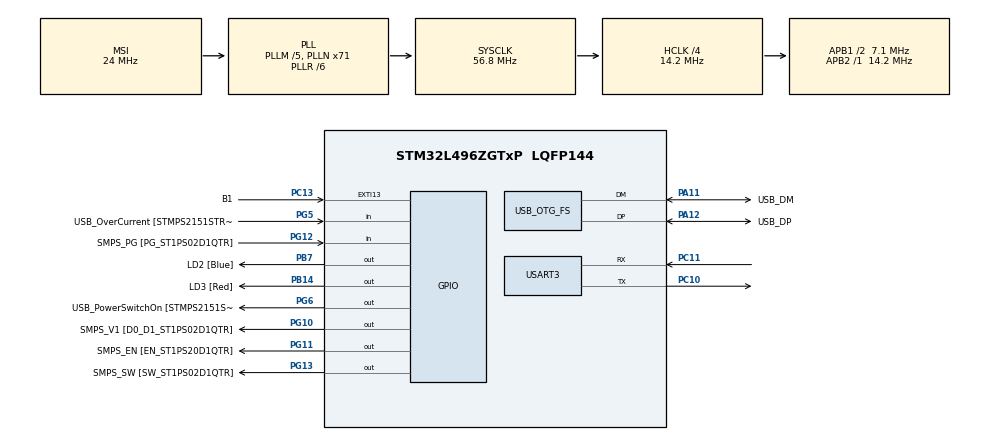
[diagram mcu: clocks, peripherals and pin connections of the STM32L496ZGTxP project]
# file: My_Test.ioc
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Mcu.Family=STM32L4
Mcu.Name=STM32L496ZGTxP
Mcu.Package=LQFP144
NVIC.EXTI15_10_IRQn=true\:0\:0\:false\:false\:true\:true\:true\:true
NVIC.OTG_FS_IRQn=true\:0\:0\:false\:false\:true\:true\:true\:true
NVIC.PriorityGroup=NVIC_PRIORITYGROUP_4
NVIC.TIM6_DAC_IRQn=true\:0\:0\:false\:false\:true\:true\:true\:true
NVIC.USART3_IRQn=true\:0\:0\:false\:false\:true\:true\:true\:true
PA10.GPIO_Label=USB_ID
PA10.Signal=USB_OTG_FS_ID
PA11.GPIO_Label=USB_DM
PA11.Mode=Host_Only
PA11.Signal=USB_OTG_FS_DM
PA12.GPIO_Label=USB_DP
PA12.Mode=Host_Only
PA12.Signal=USB_OTG_FS_DP
PA13\ (JTMS/SWDIO).GPIO_Label=TMS
PA13\ (JTMS/SWDIO).Mode=Trace_Asynchronous_SW
PA13\ (JTMS/SWDIO).Signal=SYS_JTMS-SWDIO
PA14\ (JTCK/SWCLK).GPIO_Label=TCK
PA14\ (JTCK/SWCLK).Mode=Trace_Asynchronous_SW
PA14\ (JTCK/SWCLK).Signal=SYS_JTCK-SWCLK
PA8.GPIO_Label=USB_SOF [TP1]
PA8.Signal=USB_OTG_FS_SOF
PA9.GPIO_Label=USB_VBUS
PA9.Signal=USB_OTG_FS_VBUS
PB14.GPIO_Label=LD3 [Red]
PB14.Signal=GPIO_Output
PB3\ (JTDO/TRACESWO).GPIO_Label=SWO
PB3\ (JTDO/TRACESWO).Mode=Trace_Asynchronous_SW
PB3\ (JTDO/TRACESWO).Signal=SYS_JTDO-SWO
PB7.GPIO_Label=LD2 [Blue]
PB7.Signal=GPIO_Output
PC10.Mode=Asynchronous
PC10.Signal=USART3_TX
PC11.Mode=Asynchronous
PC11.Signal=USART3_RX
PC13.GPIO_Label=B1
PC13.Signal=GPXTI13
PC14-OSC32_IN\ (PC14).Mode=LSE-External-Oscillator
PC14-OSC32_IN\ (PC14).Signal=RCC_OSC32_IN
PC15-OSC32_OUT\ (PC15).Mode=LSE-External-Oscillator
PC15-OSC32_OUT\ (PC15).Signal=RCC_OSC32_OUT
PG10.GPIO_Label=SMPS_V1 [D0_D1_ST1PS02D1QTR]
PG10.Signal=GPIO_Output
PG11.GPIO_Label=SMPS_EN [EN_ST1PS20D1QTR]
PG11.Signal=GPIO_Output
PG12.GPIO_Label=SMPS_PG [PG_ST1PS02D1QTR]
PG12.Signal=GPIO_Input
PG13.GPIO_Label=SMPS_SW [SW_ST1PS02D1QTR]
PG13.Signal=GPIO_Output
PG5.GPIO_Label=USB_OverCurrent [STMPS2151STR_FAULT]
PG5.Signal=GPIO_Input
PG6.GPIO_Label=USB_PowerSwitchOn [STMPS2151STR_EN]
PG6.Signal=GPIO_Output
PH0-OSC_IN\ (PH0).GPIO_Label=MCO
PH0-OSC_IN\ (PH0).Signal=RCC_OSC_IN
PH1-OSC_OUT\ (PH1).Signal=RCC_OSC_OUT
ProjectManager.HeapSize=0x200
ProjectManager.StackSize=0x400
ProjectManager.TargetToolchain=STM32CubeIDE
RCC.48MHZClocksFreq_Value=24000000
RCC.ADCFreq_Value=48000000
RCC.AHBCLKDivider=RCC_SYSCLK_DIV4
RCC.AHBFreq_Value=14200000
RCC.APB1CLKDivider=RCC_HCLK_DIV2
RCC.APB1Freq_Value=7100000
RCC.APB1TimFreq_Value=14200000
RCC.APB2Freq_Value=14200000
RCC.APB2TimFreq_Value=14200000
RCC.CortexFreq_Value=14200000
RCC.HCLKFreq_Value=14200000
RCC.HSE_VALUE=8000000
RCC.HSI48_VALUE=48000000
RCC.HSI_VALUE=16000000
RCC.MSIClockRange=RCC_MSIRANGE_9
RCC.MSI_VALUE=24000000
RCC.PLLM=5
RCC.PLLMUL=RCC_PLL_MUL9
RCC.PLLN=71
RCC.PLLR=RCC_PLLR_DIV6
RCC.PLLSAI1N=20
RCC.PRESCALERUSB=RCC_USBCLKSOURCE_PLL_DIV1_5
RCC.SYSCLKFreq_VALUE=56800000
RCC.SYSCLKSource=RCC_SYSCLKSOURCE_PLLCLK
RCC.SYSCLKSourceVirtual=RCC_SYSCLKSOURCE_PLLCLK
RCC.USBFreq_Value=48000000
RCC.VCOOutputFreq_Value=340800000
RTC.Date=18
RTC.Month=RTC_MONTH_AUGUST
RTC.WeekDay=RTC_WEEKDAY_FRIDAY
RTC.Year=23
USART3.VirtualMode-Asynchronous=VM_ASYNC
USB_HOST.BSP.number=1
USB_HOST.USBH_HandleTypeDef=hUsbHostFS
USB_HOST.VirtualModeFS=Audio
USB_HOST0.BSP.STBoard=false
USB_HOST0.BSP.api=UnknownBspDriver
USB_HOST0.BSP.instance=PG6
USB_HOST0.BSP.ip=GPIO
USB_HOST0.BSP.mode=Output
USB_HOST0.BSP.name=Drive_VBUS_FS
USB_HOST0.BSP.solution=PG6
USB_OTG_FS.VirtualMode=Host_Only
USB_OTG_FS.phy_itface=HCD_PHY_EMBEDDED
VP_RTC_VS_RTC_Activate.Mode=RTC_Enabled
VP_RTC_VS_RTC_Calendar.Mode=RTC_Calendar
VP_TIM6_VS_ClockSourceINT.Mode=Enable_Timer
VP_USB_HOST_VS_USB_HOST_AUDIO_FS.Mode=AUDIO_FS
board=NUCLEO-L496ZG-P

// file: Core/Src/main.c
/* USER CODE BEGIN Header */
/**
  ******************************************************************************
  * @file           : main.c
  * @brief          : Main program body
  ******************************************************************************
  * @attention
  *
  * Copyright (c) 2023 STMicroelectronics.
  * All rights reserved.
  *
  * This software is licensed under terms that can be found in the LICENSE file
  * in the root directory of this software component.
  * If no LICENSE file comes with this software, it is provided AS-IS.
  *
  ******************************************************************************
  */
/* USER CODE END Header */
#include "main.h"
#include "usb_host.h"

/* USER CODE BEGIN Includes */
#include<string.h>
#include<stdio.h>
#include "console.h"
/* USER CODE END Includes */

RTC_HandleTypeDef hrtc;

TIM_HandleTypeDef htim6;

UART_HandleTypeDef huart3;

/* USER CODE BEGIN PV */

uint8_t rx_index=0;;
uint8_t rx_data[6];
uint8_t rx_buffer[100];
uint8_t transfer_cplt;
char tx_data[200]="Application is Running\r\n";
char cmd[10];
char arg1[10];
char arg2[10];
/* USER CODE END PV */

void SystemClock_Config(void);
static void MX_GPIO_Init(void);
static void MX_RTC_Init(void);
static void MX_TIM6_Init(void);
static void MX_USART3_UART_Init(void);
void MX_USB_HOST_Process(void);

/* USER CODE BEGIN PFP */
void process_data(char *);
void Display(void);

/* USER CODE END PFP */

int main(void)
{
  /* USER CODE BEGIN 1 */
//char *tx_data = "Application is Running\r\n";

  /* USER CODE END 1 */

  /* MCU Configuration--------------------------------------------------------*/

  /* Reset of all peripherals, Initializes the Flash interface and the Systick. */
  HAL_Init();

  /* Configure the system clock */
  SystemClock_Config();

  /* Initialize all configured peripherals */
  MX_GPIO_Init();
  MX_USB_HOST_Init();
  MX_RTC_Init();
  MX_TIM6_Init();
  MX_USART3_UART_Init();
  /* USER CODE BEGIN 2 */
  HAL_UART_Transmit(&huart3, (uint8_t*)tx_data, strlen(tx_data), HAL_MAX_DELAY);
  print("Testing....\r\n");

  while(! HAL_GPIO_ReadPin(GPIOC, GPIO_PIN_13));
  HAL_Delay(200);
  strcpy(tx_data,"In Loop\n\rType your Msg: ");
  HAL_UART_Transmit(&huart3, (uint8_t*)tx_data, strlen(tx_data), HAL_MAX_DELAY);
  /* USER CODE END 2 */

  /* Infinite loop */
  while (1)
  {
    MX_USB_HOST_Process();

    /* USER CODE BEGIN 3 */

    HAL_UART_Receive_IT(&huart3, rx_data, 1);

  }
  /* USER CODE END 3 */
}

void SystemClock_Config(void)
{
  RCC_OscInitTypeDef RCC_OscInitStruct = {0};
  RCC_ClkInitTypeDef RCC_ClkInitStruct = {0};

  /** Configure the main internal regulator output voltage
  */
  if (HAL_PWREx_ControlVoltageScaling(PWR_REGULATOR_VOLTAGE_SCALE1) != HAL_OK)
  {
    Error_Handler();
  }

  /** Configure LSE Drive Capability
  */
  HAL_PWR_EnableBkUpAccess();
  __HAL_RCC_LSEDRIVE_CONFIG(RCC_LSEDRIVE_LOW);

  /** Initializes the RCC Oscillators according to the specified parameters
  * in the RCC_OscInitTypeDef structure.
  */
  RCC_OscInitStruct.OscillatorType = RCC_OSCILLATORTYPE_LSI|RCC_OSCILLATORTYPE_LSE
                              |RCC_OSCILLATORTYPE_MSI;
  RCC_OscInitStruct.LSEState = RCC_LSE_ON;
  RCC_OscInitStruct.LSIState = RCC_LSI_ON;
  RCC_OscInitStruct.MSIState = RCC_MSI_ON;
  RCC_OscInitStruct.MSICalibrationValue = 0;
  RCC_OscInitStruct.MSIClockRange = RCC_MSIRANGE_9;
  RCC_OscInitStruct.PLL.PLLState = RCC_PLL_ON;
  RCC_OscInitStruct.PLL.PLLSource = RCC_PLLSOURCE_MSI;
  RCC_OscInitStruct.PLL.PLLM = 5;
  RCC_OscInitStruct.PLL.PLLN = 71;
  RCC_OscInitStruct.PLL.PLLP = RCC_PLLP_DIV2;
  RCC_OscInitStruct.PLL.PLLQ = RCC_PLLQ_DIV2;
  RCC_OscInitStruct.PLL.PLLR = RCC_PLLR_DIV6;
  if (HAL_RCC_OscConfig(&RCC_OscInitStruct) != HAL_OK)
  {
    Error_Handler();
  }

  /** Initializes the CPU, AHB and APB buses clocks
  */
  RCC_ClkInitStruct.ClockType = RCC_CLOCKTYPE_HCLK|RCC_CLOCKTYPE_SYSCLK
                              |RCC_CLOCKTYPE_PCLK1|RCC_CLOCKTYPE_PCLK2;
  RCC_ClkInitStruct.SYSCLKSource = RCC_SYSCLKSOURCE_PLLCLK;
  RCC_ClkInitStruct.AHBCLKDivider = RCC_SYSCLK_DIV4;
  RCC_ClkInitStruct.APB1CLKDivider = RCC_HCLK_DIV2;
  RCC_ClkInitStruct.APB2CLKDivider = RCC_HCLK_DIV1;

  if (HAL_RCC_ClockConfig(&RCC_ClkInitStruct, FLASH_LATENCY_0) != HAL_OK)
  {
    Error_Handler();
  }

  /** Enable MSI Auto calibration
  */
  HAL_RCCEx_EnableMSIPLLMode();
}

static void MX_RTC_Init(void)
{

  RTC_TimeTypeDef sTime = {0};
  RTC_DateTypeDef sDate = {0};

  /** Initialize RTC Only
  */
  hrtc.Instance = RTC;
  hrtc.Init.HourFormat = RTC_HOURFORMAT_24;
  hrtc.Init.AsynchPrediv = 127;
  hrtc.Init.SynchPrediv = 255;
  hrtc.Init.OutPut = RTC_OUTPUT_DISABLE;
  hrtc.Init.OutPutRemap = RTC_OUTPUT_REMAP_NONE;
  hrtc.Init.OutPutPolarity = RTC_OUTPUT_POLARITY_HIGH;
  hrtc.Init.OutPutType = RTC_OUTPUT_TYPE_OPENDRAIN;
  if (HAL_RTC_Init(&hrtc) != HAL_OK)
  {
    Error_Handler();
  }

  /** Initialize RTC and set the Time and Date
  */
  sTime.Hours = 0x0;
  sTime.Minutes = 0x0;
  sTime.Seconds = 0x0;
  sTime.DayLightSaving = RTC_DAYLIGHTSAVING_NONE;
  sTime.StoreOperation = RTC_STOREOPERATION_RESET;
  if (HAL_RTC_SetTime(&hrtc, &sTime, RTC_FORMAT_BCD) != HAL_OK)
  {
    Error_Handler();
  }
  sDate.WeekDay = RTC_WEEKDAY_FRIDAY;
  sDate.Month = RTC_MONTH_AUGUST;
  sDate.Date = 0x18;
  sDate.Year = 0x23;

  if (HAL_RTC_SetDate(&hrtc, &sDate, RTC_FORMAT_BCD) != HAL_OK)
  {
    Error_Handler();
  }

}

static void MX_TIM6_Init(void)
{

  TIM_MasterConfigTypeDef sMasterConfig = {0};

  htim6.Instance = TIM6;
  htim6.Init.Prescaler = 0;
  htim6.Init.CounterMode = TIM_COUNTERMODE_UP;
  htim6.Init.Period = 65535;
  htim6.Init.AutoReloadPreload = TIM_AUTORELOAD_PRELOAD_DISABLE;
  if (HAL_TIM_Base_Init(&htim6) != HAL_OK)
  {
    Error_Handler();
  }
  sMasterConfig.MasterOutputTrigger = TIM_TRGO_RESET;
  sMasterConfig.MasterSlaveMode = TIM_MASTERSLAVEMODE_DISABLE;
  if (HAL_TIMEx_MasterConfigSynchronization(&htim6, &sMasterConfig) != HAL_OK)
  {
    Error_Handler();
  }

}

static void MX_USART3_UART_Init(void)
{

  huart3.Instance = USART3;
  huart3.Init.BaudRate = 115200;
  huart3.Init.WordLength = UART_WORDLENGTH_8B;
  huart3.Init.StopBits = UART_STOPBITS_1;
  huart3.Init.Parity = UART_PARITY_NONE;
  huart3.Init.Mode = UART_MODE_TX_RX;
  huart3.Init.HwFlowCtl = UART_HWCONTROL_NONE;
  huart3.Init.OverSampling = UART_OVERSAMPLING_16;
  huart3.Init.OneBitSampling = UART_ONE_BIT_SAMPLE_DISABLE;
  huart3.AdvancedInit.AdvFeatureInit = UART_ADVFEATURE_NO_INIT;
  if (HAL_UART_Init(&huart3) != HAL_OK)
  {
    Error_Handler();
  }

}

static void MX_GPIO_Init(void)
{
  GPIO_InitTypeDef GPIO_InitStruct = {0};

  /* GPIO Ports Clock Enable */
  __HAL_RCC_GPIOC_CLK_ENABLE();
  __HAL_RCC_GPIOH_CLK_ENABLE();
  __HAL_RCC_GPIOB_CLK_ENABLE();
  __HAL_RCC_GPIOG_CLK_ENABLE();
  HAL_PWREx_EnableVddIO2();
  __HAL_RCC_GPIOA_CLK_ENABLE();

  /*Configure GPIO pin Output Level */
  HAL_GPIO_WritePin(GPIOB, LD3_Pin|LD2_Pin, GPIO_PIN_RESET);

  /*Configure GPIO pin Output Level */
  HAL_GPIO_WritePin(GPIOG, USB_PowerSwitchOn_Pin|SMPS_V1_Pin|SMPS_EN_Pin|SMPS_SW_Pin, GPIO_PIN_RESET);

  /*Configure GPIO pin : B1_Pin */
  GPIO_InitStruct.Pin = B1_Pin;
  GPIO_InitStruct.Mode = GPIO_MODE_IT_RISING;
  GPIO_InitStruct.Pull = GPIO_NOPULL;
  HAL_GPIO_Init(B1_GPIO_Port, &GPIO_InitStruct);

  /*Configure GPIO pins : LD3_Pin LD2_Pin */
  GPIO_InitStruct.Pin = LD3_Pin|LD2_Pin;
  GPIO_InitStruct.Mode = GPIO_MODE_OUTPUT_PP;
  GPIO_InitStruct.Pull = GPIO_NOPULL;
  GPIO_InitStruct.Speed = GPIO_SPEED_FREQ_LOW;
  HAL_GPIO_Init(GPIOB, &GPIO_InitStruct);

  /*Configure GPIO pins : USB_OverCurrent_Pin SMPS_PG_Pin */
  GPIO_InitStruct.Pin = USB_OverCurrent_Pin|SMPS_PG_Pin;
  GPIO_InitStruct.Mode = GPIO_MODE_INPUT;
  GPIO_InitStruct.Pull = GPIO_NOPULL;
  HAL_GPIO_Init(GPIOG, &GPIO_InitStruct);

  /*Configure GPIO pins : USB_PowerSwitchOn_Pin SMPS_V1_Pin SMPS_EN_Pin SMPS_SW_Pin */
  GPIO_InitStruct.Pin = USB_PowerSwitchOn_Pin|SMPS_V1_Pin|SMPS_EN_Pin|SMPS_SW_Pin;
  GPIO_InitStruct.Mode = GPIO_MODE_OUTPUT_PP;
  GPIO_InitStruct.Pull = GPIO_NOPULL;
  GPIO_InitStruct.Speed = GPIO_SPEED_FREQ_LOW;
  HAL_GPIO_Init(GPIOG, &GPIO_InitStruct);

  /* EXTI interrupt init*/
  HAL_NVIC_SetPriority(EXTI15_10_IRQn, 0, 0);
  HAL_NVIC_EnableIRQ(EXTI15_10_IRQn);

}

/* USER CODE BEGIN 4 */
void HAL_UART_RxCpltCallback(UART_HandleTypeDef *huart)
{

	if(rx_data[0] != 13){
		rx_buffer[rx_index++] =rx_data[0];
		HAL_UART_Receive_IT(&huart3, rx_data, 1);
	}else{
		rx_index =0;
		transfer_cplt=1;
		sprintf(tx_data,"\r\nReceived msg : %s",(char*)rx_buffer);
		HAL_UART_Transmit(&huart3, (uint8_t*)tx_data, strlen(tx_data), HAL_MAX_DELAY);
		//HAL_UART_Transmit(&huart3, rx_buffer, strlen((char*)rx_buffer), HAL_MAX_DELAY);

		process_data((char*)rx_buffer);
		memset(rx_buffer,'\0',strlen((char*)rx_buffer));

		Display();
	}

}

void process_data(char msg[50]){

	char *token;

	token = strtok(msg," ");
	strcpy(cmd,token);

	token = strtok(NULL," ");
	strcpy(arg1,token);

	token = strtok(NULL," ");
	strcpy(arg2,token);

	sprintf(tx_data,"\n\rCommand is : %s",cmd);
	HAL_UART_Transmit(&huart3, (uint8_t*)tx_data, strlen(tx_data), HAL_MAX_DELAY);
	sprintf(tx_data,"\n\rArg1 : %s",arg1);
	HAL_UART_Transmit(&huart3, (uint8_t*)tx_data, strlen(tx_data), HAL_MAX_DELAY);
	sprintf(tx_data,"\n\rArg2 : %s",arg2);
	HAL_UART_Transmit(&huart3, (uint8_t*)tx_data, strlen(tx_data), HAL_MAX_DELAY);

	if(strcmp("add",cmd) == 0){
		add_op(arg1,arg2);
	}else if(strcmp("sub",cmd) == 0){
		sub_op(arg1,arg2);
	}else if(strcmp("mul",cmd) == 0){
		mul_op(arg1,arg2);
	}else if(strcmp("div",cmd) == 0){
		div_op(arg1,arg2);
	}else{

		print("\r\nError in Command .....");
	}
}

void Display(){
	uint8_t cmd_display[500]="\n\r\n\rApplication Commands :\n\r"
			"add - add <val1> <val2> for additions\n\r"
			"sub - sub <val1> <val2> for subtraction\n\r"
			"mul - mul <val1> <val2> for multiplication\n\r"
			"div - div <val1> <val2> for division\n\r"
			"App> ";
	HAL_UART_Transmit(&huart3, cmd_display, strlen((char*)cmd_display), 1000);

}

/* USER CODE END 4 */

void Error_Handler(void)
{
  __disable_irq();
  while (1)
  {
  }
}
